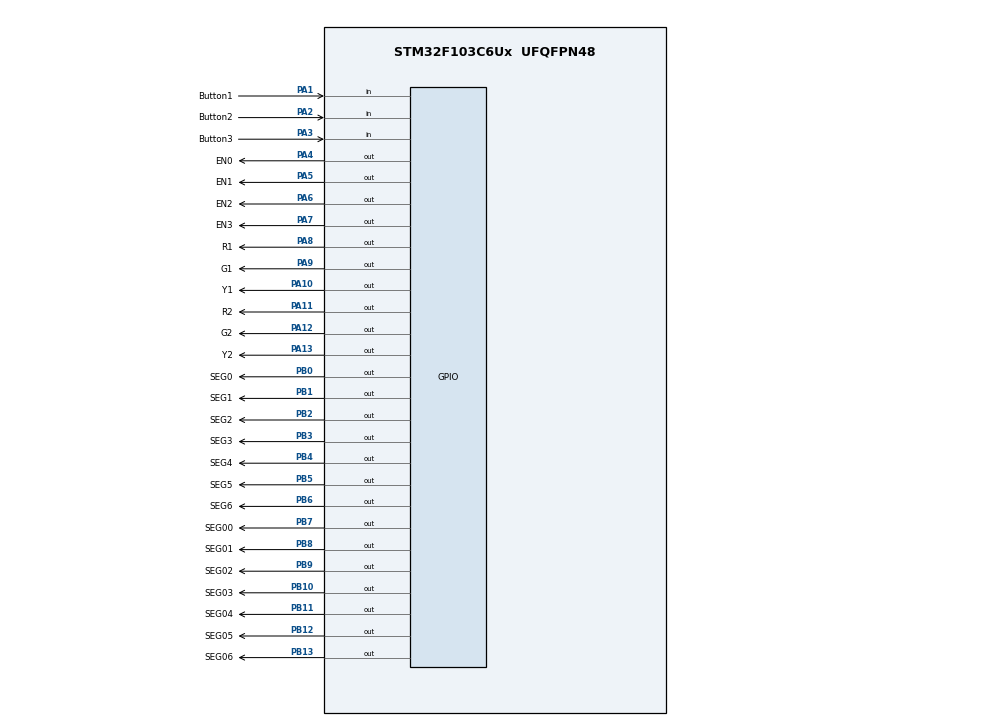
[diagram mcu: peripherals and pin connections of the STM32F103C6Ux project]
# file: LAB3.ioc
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Mcu.Family=STM32F1
Mcu.Name=STM32F103C6Ux
Mcu.Package=UFQFPN48
NVIC.PriorityGroup=NVIC_PRIORITYGROUP_4
NVIC.TIM2_IRQn=true\:0\:0\:false\:false\:true\:true\:true\:true
PA1.GPIO_Label=Button1
PA1.GPIO_PuPd=GPIO_PULLUP
PA1.Signal=GPIO_Input
PA10.GPIO_Label=Y1
PA10.Signal=GPIO_Output
PA11.GPIO_Label=R2
PA11.Signal=GPIO_Output
PA12.GPIO_Label=G2
PA12.Signal=GPIO_Output
PA13.GPIO_Label=Y2
PA13.Signal=GPIO_Output
PA2.GPIO_Label=Button2
PA2.GPIO_PuPd=GPIO_PULLUP
PA2.Signal=GPIO_Input
PA3.GPIO_Label=Button3
PA3.GPIO_PuPd=GPIO_PULLUP
PA3.Signal=GPIO_Input
PA4.GPIO_Label=EN0
PA4.Signal=GPIO_Output
PA5.GPIO_Label=EN1
PA5.Signal=GPIO_Output
PA6.GPIO_Label=EN2
PA6.Signal=GPIO_Output
PA7.GPIO_Label=EN3
PA7.Signal=GPIO_Output
PA8.GPIO_Label=R1
PA8.Signal=GPIO_Output
PA9.GPIO_Label=G1
PA9.Signal=GPIO_Output
PB0.GPIO_Label=SEG0
PB0.Signal=GPIO_Output
PB1.GPIO_Label=SEG1
PB1.Signal=GPIO_Output
PB10.GPIO_Label=SEG03
PB10.Signal=GPIO_Output
PB11.GPIO_Label=SEG04
PB11.Signal=GPIO_Output
PB12.GPIO_Label=SEG05
PB12.Signal=GPIO_Output
PB13.GPIO_Label=SEG06
PB13.Signal=GPIO_Output
PB2.GPIO_Label=SEG2
PB2.Signal=GPIO_Output
PB3.GPIO_Label=SEG3
PB3.Signal=GPIO_Output
PB4.GPIO_Label=SEG4
PB4.Signal=GPIO_Output
PB5.GPIO_Label=SEG5
PB5.Signal=GPIO_Output
PB6.GPIO_Label=SEG6
PB6.Signal=GPIO_Output
PB7.GPIO_Label=SEG00
PB7.Signal=GPIO_Output
PB8.GPIO_Label=SEG01
PB8.Signal=GPIO_Output
PB9.GPIO_Label=SEG02
PB9.Signal=GPIO_Output
ProjectManager.HeapSize=0x200
ProjectManager.StackSize=0x400
ProjectManager.TargetToolchain=STM32CubeIDE
RCC.APB1Freq_Value=8000000
RCC.APB2Freq_Value=8000000
TIM2.Period=9
TIM2.Prescaler=7999
VP_TIM2_VS_ClockSourceINT.Mode=Internal
board=custom

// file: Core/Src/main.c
/* USER CODE BEGIN Header */
/**
 ******************************************************************************
 * @file           : main.c
 * @brief          : Main program body
 ******************************************************************************
 * @attention
 *
 * Copyright (c) 2022 STMicroelectronics.
 * All rights reserved.
 *
 * This software is licensed under terms that can be found in the LICENSE file
 * in the root directory of this software component.
 * If no LICENSE file comes with this software, it is provided AS-IS.
 *
 ******************************************************************************
 */
/* USER CODE END Header */
#include "main.h"

/* USER CODE BEGIN Includes */
#include "software_timer.h"
#include "button.h"
#include "setTrafficLight.h"
#include "mode_control.h"
/* USER CODE END Includes */

TIM_HandleTypeDef htim2;

void SystemClock_Config(void);
static void MX_GPIO_Init(void);
static void MX_TIM2_Init(void);

int main(void)
{

  /* MCU Configuration--------------------------------------------------------*/

  /* Reset of all peripherals, Initializes the Flash interface and the Systick. */
  HAL_Init();

  /* Configure the system clock */
  SystemClock_Config();

  /* Initialize all configured peripherals */
  MX_GPIO_Init();
  MX_TIM2_Init();
  /* USER CODE BEGIN 2 */
	HAL_TIM_Base_Start_IT(&htim2);
  /* USER CODE END 2 */

  /* Infinite loop */
  /* USER CODE BEGIN WHILE */

	status1 = INIT;
	status2 = INIT;
	idx = 1;
	counter = 10;
	timeCounter = 100;
	modeCounter = 1;
	while (1) {

//		fsm_automatic1_run();
//		fsm_automatic2_run();
//		fsm_manual_run();
    /* USER CODE END WHILE */

	}
}

void SystemClock_Config(void)
{
  RCC_OscInitTypeDef RCC_OscInitStruct = {0};
  RCC_ClkInitTypeDef RCC_ClkInitStruct = {0};

  /** Initializes the RCC Oscillators according to the specified parameters
  * in the RCC_OscInitTypeDef structure.
  */
  RCC_OscInitStruct.OscillatorType = RCC_OSCILLATORTYPE_HSI;
  RCC_OscInitStruct.HSIState = RCC_HSI_ON;
  RCC_OscInitStruct.HSICalibrationValue = RCC_HSICALIBRATION_DEFAULT;
  RCC_OscInitStruct.PLL.PLLState = RCC_PLL_NONE;
  if (HAL_RCC_OscConfig(&RCC_OscInitStruct) != HAL_OK)
  {
    Error_Handler();
  }

  /** Initializes the CPU, AHB and APB buses clocks
  */
  RCC_ClkInitStruct.ClockType = RCC_CLOCKTYPE_HCLK|RCC_CLOCKTYPE_SYSCLK
                              |RCC_CLOCKTYPE_PCLK1|RCC_CLOCKTYPE_PCLK2;
  RCC_ClkInitStruct.SYSCLKSource = RCC_SYSCLKSOURCE_HSI;
  RCC_ClkInitStruct.AHBCLKDivider = RCC_SYSCLK_DIV1;
  RCC_ClkInitStruct.APB1CLKDivider = RCC_HCLK_DIV1;
  RCC_ClkInitStruct.APB2CLKDivider = RCC_HCLK_DIV1;

  if (HAL_RCC_ClockConfig(&RCC_ClkInitStruct, FLASH_LATENCY_0) != HAL_OK)
  {
    Error_Handler();
  }
}

static void MX_TIM2_Init(void)
{

  TIM_ClockConfigTypeDef sClockSourceConfig = {0};
  TIM_MasterConfigTypeDef sMasterConfig = {0};

  htim2.Instance = TIM2;
  htim2.Init.Prescaler = 7999;
  htim2.Init.CounterMode = TIM_COUNTERMODE_UP;
  htim2.Init.Period = 9;
  htim2.Init.ClockDivision = TIM_CLOCKDIVISION_DIV1;
  htim2.Init.AutoReloadPreload = TIM_AUTORELOAD_PRELOAD_DISABLE;
  if (HAL_TIM_Base_Init(&htim2) != HAL_OK)
  {
    Error_Handler();
  }
  sClockSourceConfig.ClockSource = TIM_CLOCKSOURCE_INTERNAL;
  if (HAL_TIM_ConfigClockSource(&htim2, &sClockSourceConfig) != HAL_OK)
  {
    Error_Handler();
  }
  sMasterConfig.MasterOutputTrigger = TIM_TRGO_RESET;
  sMasterConfig.MasterSlaveMode = TIM_MASTERSLAVEMODE_DISABLE;
  if (HAL_TIMEx_MasterConfigSynchronization(&htim2, &sMasterConfig) != HAL_OK)
  {
    Error_Handler();
  }

}

static void MX_GPIO_Init(void)
{
  GPIO_InitTypeDef GPIO_InitStruct = {0};

  /* GPIO Ports Clock Enable */
  __HAL_RCC_GPIOA_CLK_ENABLE();
  __HAL_RCC_GPIOB_CLK_ENABLE();

  /*Configure GPIO pin Output Level */
  HAL_GPIO_WritePin(GPIOA, EN0_Pin|EN1_Pin|EN2_Pin|EN3_Pin
                          |R1_Pin|G1_Pin|Y1_Pin|R2_Pin
                          |G2_Pin|Y2_Pin, GPIO_PIN_RESET);

  /*Configure GPIO pin Output Level */
  HAL_GPIO_WritePin(GPIOB, SEG0_Pin|SEG1_Pin|SEG2_Pin|SEG03_Pin
                          |SEG04_Pin|SEG05_Pin|SEG06_Pin|SEG3_Pin
                          |SEG4_Pin|SEG5_Pin|SEG6_Pin|SEG00_Pin
                          |SEG01_Pin|SEG02_Pin, GPIO_PIN_RESET);

  /*Configure GPIO pins : Button1_Pin Button2_Pin Button3_Pin */
  GPIO_InitStruct.Pin = Button1_Pin|Button2_Pin|Button3_Pin;
  GPIO_InitStruct.Mode = GPIO_MODE_INPUT;
  GPIO_InitStruct.Pull = GPIO_PULLUP;
  HAL_GPIO_Init(GPIOA, &GPIO_InitStruct);

  /*Configure GPIO pins : EN0_Pin EN1_Pin EN2_Pin EN3_Pin
                           R1_Pin G1_Pin Y1_Pin R2_Pin
                           G2_Pin Y2_Pin */
  GPIO_InitStruct.Pin = EN0_Pin|EN1_Pin|EN2_Pin|EN3_Pin
                          |R1_Pin|G1_Pin|Y1_Pin|R2_Pin
                          |G2_Pin|Y2_Pin;
  GPIO_InitStruct.Mode = GPIO_MODE_OUTPUT_PP;
  GPIO_InitStruct.Pull = GPIO_NOPULL;
  GPIO_InitStruct.Speed = GPIO_SPEED_FREQ_LOW;
  HAL_GPIO_Init(GPIOA, &GPIO_InitStruct);

  /*Configure GPIO pins : SEG0_Pin SEG1_Pin SEG2_Pin SEG03_Pin
                           SEG04_Pin SEG05_Pin SEG06_Pin SEG3_Pin
                           SEG4_Pin SEG5_Pin SEG6_Pin SEG00_Pin
                           SEG01_Pin SEG02_Pin */
  GPIO_InitStruct.Pin = SEG0_Pin|SEG1_Pin|SEG2_Pin|SEG03_Pin
                          |SEG04_Pin|SEG05_Pin|SEG06_Pin|SEG3_Pin
                          |SEG4_Pin|SEG5_Pin|SEG6_Pin|SEG00_Pin
                          |SEG01_Pin|SEG02_Pin;
  GPIO_InitStruct.Mode = GPIO_MODE_OUTPUT_PP;
  GPIO_InitStruct.Pull = GPIO_NOPULL;
  GPIO_InitStruct.Speed = GPIO_SPEED_FREQ_LOW;
  HAL_GPIO_Init(GPIOB, &GPIO_InitStruct);

}

/* USER CODE BEGIN 4 */
void HAL_TIM_PeriodElapsedCallback(TIM_HandleTypeDef *htim) {
	timerRun();
	fsm_control();
//	mode2_control();
	getKeyInput();

}
/* USER CODE END 4 */

void Error_Handler(void)
{
	__disable_irq();
	while (1) {
	}
}
